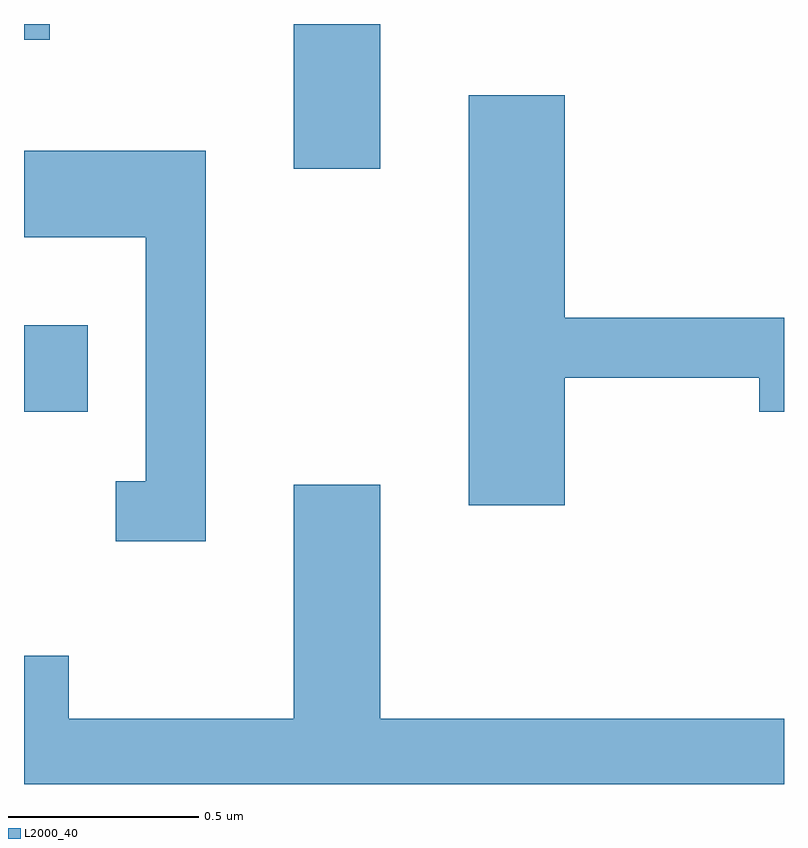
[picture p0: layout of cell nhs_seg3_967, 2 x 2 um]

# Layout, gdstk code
import gdstk
lib = gdstk.Library(unit=1e-6, precision=1e-09)
def R(c, l, rs):  # rectangles x0, y0, x1, y1
    for r in rs: c.add(gdstk.rectangle(r[:2], r[2:], *l))
def P(c, l, *ps):  # polygons
    for p in ps: c.add(gdstk.Polygon(p, *l))
L2000_40 = (2000, 40)

nhs_seg3_967 = lib.new_cell('nhs_seg3_967')
R(nhs_seg3_967, L2000_40, [(192.611,1124.871,192.779,1125.099), (193.321,1125.511,193.549,1125.892), (192.611,1125.851,192.679,1125.892)])
P(nhs_seg3_967, L2000_40, [(194.034,1124.961),(194.546,1124.961),(194.546,1124.871),(194.611,1124.871),(194.611,1125.119),(194.034,1125.119),(194.034,1125.704),(193.781,1125.704),(193.781,1124.626),(194.034,1124.626)],
  [(193.089,1125.559),(192.611,1125.559),(192.611,1125.331),(192.931,1125.331),(192.931,1124.689),(192.853,1124.689),(192.853,1124.531),(193.089,1124.531)],
  [(194.611,1124.064),(193.549,1124.064),(193.549,1124.679),(193.321,1124.679),(193.321,1124.064),(192.729,1124.064),(192.729,1124.229),(192.611,1124.229),(192.611,1123.892),(194.611,1123.892)])

lib.write_gds('nhs_seg3_967.gds')
